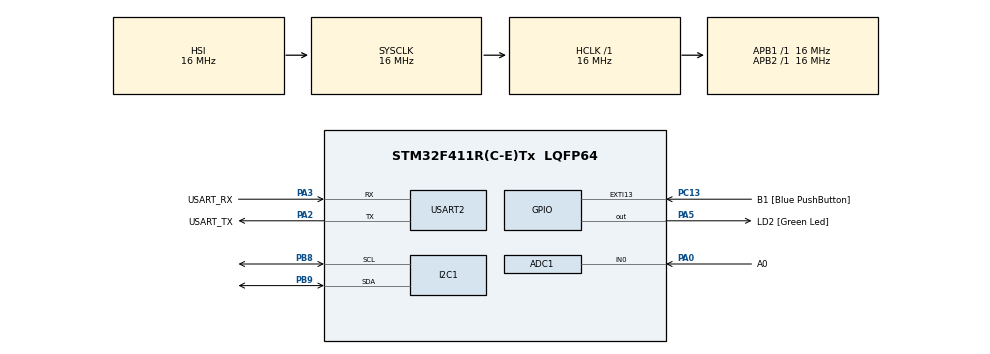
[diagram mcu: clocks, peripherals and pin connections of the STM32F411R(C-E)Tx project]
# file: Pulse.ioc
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Mcu.Family=STM32F4
PA2.GPIO_PuPd=GPIO_PULLUP
RCC.CortexFreq_Value=16000000
PC13-ANTI_TAMP.GPIO_PuPd=GPIO_NOPULL
PC13-ANTI_TAMP.GPIO_Label=B1 [Blue PushButton]
PA14.GPIO_Label=TCK
PA3.GPIO_PuPd=GPIO_PULLUP
PA2.GPIO_Speed=GPIO_SPEED_FREQ_HIGH
PA3.GPIO_Speed=GPIO_SPEED_FREQ_HIGH
ProjectManager.StackSize=0x400
PA0-WKUP.GPIO_Label=A0
PA0-WKUP.Signal=ADCx_IN0
PA13.Signal=SYS_JTMS-SWDIO
PA3.Mode=Asynchronous
ProjectManager.TargetToolchain=STM32CubeIDE
PA3.GPIO_Mode=GPIO_MODE_AF_PP
RCC.HCLKFreq_Value=16000000
ADC1.Resolution=ADC_RESOLUTION_10B
PB9.Mode=I2C
RCC.APB2TimFreq_Value=16000000
TIM3.Period=1999
RCC.LSE_VALUE=32768
RCC.AHBFreq_Value=16000000
NVIC.EXTI15_10_IRQn=true\:0\:0\:false\:false\:true\:true\:true
PA5.Signal=GPIO_Output
ADC1.Channel-0\#ChannelRegularConversion=ADC_CHANNEL_0
RCC.HSE_VALUE=8000000
board=custom
PC13-ANTI_TAMP.Signal=GPXTI13
RCC.VCOOutputFreq_Value=336000000
NVIC.TIM3_IRQn=true\:0\:0\:true\:false\:true\:true\:true
RCC.APB2Freq_Value=16000000
PA5.GPIO_ModeDefaultOutputPP=GPIO_MODE_OUTPUT_PP
PA14.Mode=Serial_Wire
TIM3.Prescaler=15
PA5.GPIO_PuPd=GPIO_NOPULL
PA0-WKUP.GPIO_Mode=GPIO_MODE_ANALOG
SH.ADCx_IN0.0=ADC1_IN0,IN0
PA13.Mode=Serial_Wire
Mcu.Name=STM32F411R(C-E)Tx
ADC1.SamplingTime-0\#ChannelRegularConversion=ADC_SAMPLETIME_15CYCLES
PA2.Signal=USART2_TX
PA13.GPIO_Label=TMS
RCC.FLatency-AdvancedSettings=FLASH_LATENCY_0
RCC.48MHZClocksFreq_Value=84000000
RCC.SYSCLKFreq_VALUE=16000000
Mcu.Package=LQFP64
PB9.Signal=I2C1_SDA
ADC1.master=1
PA5.GPIO_Label=LD2 [Green Led]
USART2.VirtualMode=VM_ASYNC
PC13-ANTI_TAMP.GPIO_ModeDefaultEXTI=GPIO_MODE_IT_FALLING
PA2.GPIO_Label=USART_TX
PA14.Signal=SYS_JTCK-SWCLK
ProjectManager.HeapSize=0x200
RCC.HSI_VALUE=16000000
RCC.PLLP=RCC_PLLP_DIV4
PA5.GPIO_Speed=GPIO_SPEED_FREQ_LOW
NVIC.PriorityGroup=NVIC_PRIORITYGROUP_0
PB8.Mode=I2C
RCC.PLLN=336
RCC.APB1TimFreq_Value=16000000
PA2.Mode=Asynchronous
PB8.Signal=I2C1_SCL
PA0-WKUP.GPIO_PuPd=GPIO_NOPULL
RCC.APB1Freq_Value=16000000
VP_TIM3_VS_ClockSourceINT.Mode=Internal
PA3.GPIO_Label=USART_RX
PA3.Signal=USART2_RX
PA2.GPIO_Mode=GPIO_MODE_AF_PP

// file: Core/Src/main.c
/* USER CODE BEGIN Header */
/**
  ******************************************************************************
  * @file           : main.c
  * @brief          : Main program body
  ******************************************************************************
  * @attention
  *
  * <h2><center>&copy; Copyright (c) 2021 STMicroelectronics.
  * All rights reserved.</center></h2>
  *
  * This software component is licensed by ST under BSD 3-Clause license,
  * the "License"; You may not use this file except in compliance with the
  * License. You may obtain a copy of the License at:
  *                        opensource.org/licenses/BSD-3-Clause
  *
  ******************************************************************************
  */
/* USER CODE END Header */
#include "main.h"

/* USER CODE BEGIN Includes */
#include "stdio.h"
#include "i2c-lcd.h"
#include "math.h"
/* USER CODE END Includes */

ADC_HandleTypeDef hadc1;

I2C_HandleTypeDef hi2c1;

TIM_HandleTypeDef htim3;

UART_HandleTypeDef huart2;

/* USER CODE BEGIN PV */
// these variables are volatile because they are used during the interrupt service routine!
#define true 1
#define false 0
int BPM;                   // used to hold the pulse rate
int ADCValue;                // holds the incoming raw data
int IBI = 600;             // holds the time between beats, must be seeded!
unsigned char Pulse = false;     // true when pulse wave is high, false when it's low
int Count = 0;
int rate[10];                    // array to hold last ten IBI values
unsigned long sampleCounter = 0;          // used to determine pulse timing
unsigned long lastBeatTime = 0;           // used to find IBI
int P =512;                      // used to find peak in pulse wave, seeded
int T = 512;                     // used to find trough in pulse wave, seeded
int thresh = 512;                // used to find instant moment of heart beat, seeded
int amp = 100;                   // used to hold amplitude of pulse waveform, seeded
int PulseTime;
unsigned char firstBeat = true;        // used to seed rate array so we startup with reasonable BPM
unsigned char secondBeat = false;      // used to seed rate array so we startup with reasonable BPM
int t1 = 0,t2 = 0,t3 = 0;
/* USER CODE END PV */

void SystemClock_Config(void);
static void MX_GPIO_Init(void);
static void MX_ADC1_Init(void);
static void MX_TIM3_Init(void);
static void MX_USART2_UART_Init(void);
static void MX_I2C1_Init(void);
/* USER CODE BEGIN PFP */
/* Private function prototypes -----------------------------------------------*/
//void sendDataToProcessing(char symbol, int dat );
//#ifdef __GNUC__
//  /* With GCC/RAISONANCE, small printf (option LD Linker->Libraries->Small printf
//     set to 'Yes') calls __io_putchar() */
//  #define PUTCHAR_PROTOTYPE int __io_putchar(int ch)
//#else
//  #define PUTCHAR_PROTOTYPE int fputc(int ch, FILE *f)
//#endif /* __GNUC__ */
void PrintWave(int temp);
int getDigits(int d, int digits);
/* USER CODE END PFP */

int main(void)
{

  /* MCU Configuration--------------------------------------------------------*/

  /* Reset of all peripherals, Initializes the Flash interface and the Systick. */
  HAL_Init();

  /* Configure the system clock */
  SystemClock_Config();

  /* Initialize all configured peripherals */
  MX_GPIO_Init();
  MX_ADC1_Init();
  MX_TIM3_Init();
  MX_USART2_UART_Init();
  MX_I2C1_Init();
  /* USER CODE BEGIN 2 */
	HAL_TIM_Base_Start_IT(&htim3);
	lcd_init();
	lcd_clear();
	lcd_send_string ("Heart pulse:");
	HAL_Delay(2000);
	lcd_clear();
  /* USER CODE END 2 */

  /* Infinite loop */
  while (1)
  {
    /* USER CODE BEGIN 3 */
	  //sendDataToProcessing('S', ADCValue);     // send Processing the raw Pulse Sensor data
	  float star;
	  star = ADCValue / 10.0;
	  int i;
	  for (i = 0; i < 110; i++)
	  {
	  	  if (i<star)
	  	      printf("*");
	  	  else
	  	      printf(" ");
	  }
	  printf("|");

		  //sendDataToProcessing('B',BPM);   // send heart rate with a 'B' prefix
		  printf("BPM: %4d beat/Sec | IBI: %3dms\r\n",BPM,IBI);
		  //sendDataToProcessing('Q',IBI);   // send time between beats with a 'Q' prefix
		  lcd_send_string ("Number of HB:");
		  t3 = getDigits(Count,3) + 48;
		  t2 = getDigits(Count,2) + 48;
		  t1 = getDigits(Count,1) + 48;
		  lcd_send_data (t3);
		  lcd_send_data (t2);
		  lcd_send_data (t1);
		  lcd_setCursor (0,0);

	  	//delay for 20ms

  }
  /* USER CODE END 3 */
}

void SystemClock_Config(void)
{
  RCC_OscInitTypeDef RCC_OscInitStruct = {0};
  RCC_ClkInitTypeDef RCC_ClkInitStruct = {0};

  /** Configure the main internal regulator output voltage
  */
  __HAL_RCC_PWR_CLK_ENABLE();
  __HAL_PWR_VOLTAGESCALING_CONFIG(PWR_REGULATOR_VOLTAGE_SCALE1);
  /** Initializes the RCC Oscillators according to the specified parameters
  * in the RCC_OscInitTypeDef structure.
  */
  RCC_OscInitStruct.OscillatorType = RCC_OSCILLATORTYPE_HSI;
  RCC_OscInitStruct.HSIState = RCC_HSI_ON;
  RCC_OscInitStruct.HSICalibrationValue = RCC_HSICALIBRATION_DEFAULT;
  RCC_OscInitStruct.PLL.PLLState = RCC_PLL_NONE;
  if (HAL_RCC_OscConfig(&RCC_OscInitStruct) != HAL_OK)
  {
    Error_Handler();
  }
  /** Initializes the CPU, AHB and APB buses clocks
  */
  RCC_ClkInitStruct.ClockType = RCC_CLOCKTYPE_HCLK|RCC_CLOCKTYPE_SYSCLK
                              |RCC_CLOCKTYPE_PCLK1|RCC_CLOCKTYPE_PCLK2;
  RCC_ClkInitStruct.SYSCLKSource = RCC_SYSCLKSOURCE_HSI;
  RCC_ClkInitStruct.AHBCLKDivider = RCC_SYSCLK_DIV1;
  RCC_ClkInitStruct.APB1CLKDivider = RCC_HCLK_DIV1;
  RCC_ClkInitStruct.APB2CLKDivider = RCC_HCLK_DIV1;

  if (HAL_RCC_ClockConfig(&RCC_ClkInitStruct, FLASH_LATENCY_0) != HAL_OK)
  {
    Error_Handler();
  }
}

static void MX_ADC1_Init(void)
{

  ADC_ChannelConfTypeDef sConfig = {0};

  /** Configure the global features of the ADC (Clock, Resolution, Data Alignment and PulseTimeber of conversion)
  */
  hadc1.Instance = ADC1;
  hadc1.Init.ClockPrescaler = ADC_CLOCK_SYNC_PCLK_DIV2;
  hadc1.Init.Resolution = ADC_RESOLUTION_10B;
  hadc1.Init.ScanConvMode = DISABLE;
  hadc1.Init.ContinuousConvMode = DISABLE;
  hadc1.Init.DiscontinuousConvMode = DISABLE;
  hadc1.Init.ExternalTrigConvEdge = ADC_EXTERNALTRIGCONVEDGE_NONE;
  hadc1.Init.ExternalTrigConv = ADC_SOFTWARE_START;
  hadc1.Init.DataAlign = ADC_DATAALIGN_RIGHT;
  hadc1.Init.NbrOfConversion = 1;
  hadc1.Init.DMAContinuousRequests = DISABLE;
  hadc1.Init.EOCSelection = ADC_EOC_SINGLE_CONV;
  if (HAL_ADC_Init(&hadc1) != HAL_OK)
  {
    Error_Handler();
  }
  /** Configure for the selected ADC regular channel its corresponding rank in the sequencer and its sample time.
  */
  sConfig.Channel = ADC_CHANNEL_0;
  sConfig.Rank = 1;
  sConfig.SamplingTime = ADC_SAMPLETIME_15CYCLES;
  if (HAL_ADC_ConfigChannel(&hadc1, &sConfig) != HAL_OK)
  {
    Error_Handler();
  }

}

static void MX_I2C1_Init(void)
{

  hi2c1.Instance = I2C1;
  hi2c1.Init.ClockSpeed = 100000;
  hi2c1.Init.DutyCycle = I2C_DUTYCYCLE_2;
  hi2c1.Init.OwnAddress1 = 0;
  hi2c1.Init.AddressingMode = I2C_ADDRESSINGMODE_7BIT;
  hi2c1.Init.DualAddressMode = I2C_DUALADDRESS_DISABLE;
  hi2c1.Init.OwnAddress2 = 0;
  hi2c1.Init.GeneralCallMode = I2C_GENERALCALL_DISABLE;
  hi2c1.Init.NoStretchMode = I2C_NOSTRETCH_DISABLE;
  if (HAL_I2C_Init(&hi2c1) != HAL_OK)
  {
    Error_Handler();
  }

}

static void MX_TIM3_Init(void)
{

  TIM_ClockConfigTypeDef sClockSourceConfig = {0};
  TIM_MasterConfigTypeDef sMasterConfig = {0};

  htim3.Instance = TIM3;
  htim3.Init.Prescaler = 15;
  htim3.Init.CounterMode = TIM_COUNTERMODE_UP;
  htim3.Init.Period = 1999;
  htim3.Init.ClockDivision = TIM_CLOCKDIVISION_DIV1;
  htim3.Init.AutoReloadPreload = TIM_AUTORELOAD_PRELOAD_DISABLE;
  if (HAL_TIM_Base_Init(&htim3) != HAL_OK)
  {
    Error_Handler();
  }
  sClockSourceConfig.ClockSource = TIM_CLOCKSOURCE_INTERNAL;
  if (HAL_TIM_ConfigClockSource(&htim3, &sClockSourceConfig) != HAL_OK)
  {
    Error_Handler();
  }
  sMasterConfig.MasterOutputTrigger = TIM_TRGO_RESET;
  sMasterConfig.MasterSlaveMode = TIM_MASTERSLAVEMODE_DISABLE;
  if (HAL_TIMEx_MasterConfigSynchronization(&htim3, &sMasterConfig) != HAL_OK)
  {
    Error_Handler();
  }

}

static void MX_USART2_UART_Init(void)
{

  huart2.Instance = USART2;
  huart2.Init.BaudRate = 115200;
  huart2.Init.WordLength = UART_WORDLENGTH_8B;
  huart2.Init.StopBits = UART_STOPBITS_1;
  huart2.Init.Parity = UART_PARITY_NONE;
  huart2.Init.Mode = UART_MODE_TX_RX;
  huart2.Init.HwFlowCtl = UART_HWCONTROL_NONE;
  huart2.Init.OverSampling = UART_OVERSAMPLING_16;
  if (HAL_UART_Init(&huart2) != HAL_OK)
  {
    Error_Handler();
  }

}

static void MX_GPIO_Init(void)
{
  GPIO_InitTypeDef GPIO_InitStruct = {0};

  /* GPIO Ports Clock Enable */
  __HAL_RCC_GPIOC_CLK_ENABLE();
  __HAL_RCC_GPIOA_CLK_ENABLE();
  __HAL_RCC_GPIOB_CLK_ENABLE();

  /*Configure GPIO pin Output Level */
  HAL_GPIO_WritePin(LD2_GPIO_Port, LD2_Pin, GPIO_PIN_RESET);

  /*Configure GPIO pin : B1_Pin */
  GPIO_InitStruct.Pin = B1_Pin;
  GPIO_InitStruct.Mode = GPIO_MODE_IT_FALLING;
  GPIO_InitStruct.Pull = GPIO_NOPULL;
  HAL_GPIO_Init(B1_GPIO_Port, &GPIO_InitStruct);

  /*Configure GPIO pin : LD2_Pin */
  GPIO_InitStruct.Pin = LD2_Pin;
  GPIO_InitStruct.Mode = GPIO_MODE_OUTPUT_PP;
  GPIO_InitStruct.Pull = GPIO_NOPULL;
  GPIO_InitStruct.Speed = GPIO_SPEED_FREQ_LOW;
  HAL_GPIO_Init(LD2_GPIO_Port, &GPIO_InitStruct);

  /* EXTI interrupt init*/
  HAL_NVIC_SetPriority(EXTI15_10_IRQn, 0, 0);
  HAL_NVIC_EnableIRQ(EXTI15_10_IRQn);

}

/* USER CODE BEGIN 4 */
/**
  * @brief  Retargets the C library printf function to the USART.
  * @param  None
  * @retval None
  */
//PUTCHAR_PROTOTYPE
//{
//  /* Place your implementation of fputc here */
//  /* e.g. write a character to the EVAL_COM1 and Loop until the end of transmission */
//  HAL_UART_Transmit(&huart2, (uint8_t *)&ch, 1, 0xFFFF);
//
//  return ch;
//}
void HAL_GPIO_EXTI_Callback(uint16_t GPIO_Pin)
{
	if (HAL_GPIO_ReadPin(GPIOC, GPIO_PIN_13) == 0)
	{
		BPM = 0;                   // used to hold the pulse rate
		ADCValue = 0;                // holds the incoming raw data
		IBI = 600;             // holds the time between beats, must be seeded!
		Pulse = false;     // true when pulse wave is high, false when it's low
        for(int i=0; i<=9; i++)            // seed the running total to get a realisitic BPM at startup
          rate[i] = 0;                    // array to hold last ten IBI values
		sampleCounter = 0;          // used to determine pulse timing
		lastBeatTime = 0;           // used to find IBI
		Count = 0;
		P =512;                      // used to find peak in pulse wave, seeded
		T = 512;                     // used to find trough in pulse wave, seeded
		thresh = 512;                // used to find instant moment of heart beat, seeded
		amp = 100;                   // used to hold amplitude of pulse waveform, seeded
		PulseTime = 0;
		firstBeat = true;        // used to seed rate array so we startup with reasonable BPM
		secondBeat = false;
	}
}

void HAL_TIM_PeriodElapsedCallback(TIM_HandleTypeDef *htim)
{
	unsigned int runningTotal;
	if(htim->Instance==htim3.Instance)
	{
		ADCValue=HAL_ADC_GetValue(&hadc1);					 // read the Pulse Senso
		sampleCounter += 2;                         // keep track of the time in mS with this variable
		PulseTime = sampleCounter - lastBeatTime;       // monitor the time since the last beat to avoid noise
		HAL_ADC_Start(&hadc1);									//restart ADC conversion

		//  find the peak and trough of the pulse wave
  if(ADCValue < thresh && PulseTime > (IBI/5)*3){       // avoid dichrotic noise by waiting 3/5 of last IBI
    if (ADCValue < T){                        // T is the trough
      T = ADCValue;                         // keep track of lowest point in pulse wave
    }
  }

  if(ADCValue > thresh && ADCValue > P){          // thresh condition helps avoid noise
    P = ADCValue;                             // P is the peak
  }                                        // keep track of highest point in pulse wave

  //  NOW IT'S TIME TO LOOK FOR THE HEART BEAT
  // ADCValue surges up in value every time there is a pulse
  if (PulseTime > 250){                                   // avoid high frequency noise
    if ( (ADCValue > thresh) && (Pulse == false) && (PulseTime > (IBI/5)*3) ){
      Pulse = true;                               // set the Pulse flag when we think there is a pulse
      HAL_GPIO_WritePin(GPIOA,GPIO_PIN_5,GPIO_PIN_RESET);                // turn on pin 13 LED
      IBI = sampleCounter - lastBeatTime;         // measure time between beats in mS
      lastBeatTime = sampleCounter;               // keep track of time for next pulse

      if(secondBeat){                        // if this is the second beat, if secondBeat == TRUE
        secondBeat = false;                  // clear secondBeat flag
        for(int i=0; i<=9; i++){             // seed the running total to get a realisitic BPM at startup
          rate[i] = IBI;
        }
      }

      if(firstBeat){                         // if it's the first time we found a beat, if firstBeat == TRUE
        firstBeat = false;                   // clear firstBeat flag
        secondBeat = true;                   // set the second beat flag
        return;                              // IBI value is unreliable so discard it
      }

      // keep a running total of the last 10 IBI values
      runningTotal = 0;                  // clear the runningTotal variable

      for(int i=0; i<=8; i++){                // shift data in the rate array
        rate[i] = rate[i+1];                  // and drop the oldest IBI value
        runningTotal += rate[i];              // add up the 9 oldest IBI values
      }

      rate[9] = IBI;                          // add the latest IBI to the rate array
      runningTotal += rate[9];                // add the latest IBI to runningTotal
      runningTotal /= 10;                     // average the last 10 IBI values
      BPM = 60000/runningTotal;               // how many beats can fit into a minute? that's BPM!
      Count ++;                             // set Quantified Self flag
      // QS FLAG IS NOT CLEARED INSIDE THIS ISR
    }
  }

  if (ADCValue < thresh && Pulse == true){   // when the values are going down, the beat is over
     HAL_GPIO_WritePin(GPIOA,GPIO_PIN_5,GPIO_PIN_SET);            // turn off pin 13 LED
    Pulse = false;                         // reset the Pulse flag so we can do it again
    amp = P - T;                           // get amplitude of the pulse wave
    thresh = amp/2 + T;                    // set thresh at 50% of the amplitude
    P = thresh;                            // reset these for next time
    T = thresh;
  }

  if (PulseTime > 2500){                           // if 2.5 seconds go by without a beat
    thresh = 512;                          // set thresh default
    P = 512;                               // set P default
    T = 512;                               // set T default
    lastBeatTime = sampleCounter;          // bring the lastBeatTime up to date
    firstBeat = true;                      // set these to avoid noise
    secondBeat = false;                    // when we get the heartbeat back
  }

	}
}

//void sendDataToProcessing(char symbol, int dat )
//{
//    putchar(symbol);                // symbol prefix tells Processing what type of data is coming
//		printf("%d\r\n",dat);						// the data to send culminating in a carriage return
//}

int __io_putchar(int ch)
{
	HAL_UART_Transmit(&huart2, (uint8_t*)&ch,1,HAL_MAX_DELAY);
    return ch;
}

int getDigits(int d, int digits)
{
int tempint = (int)(d / pow(10.0, digits - 1));
return (tempint % 10);
}

/* USER CODE END 4 */

void Error_Handler(void)
{
  __disable_irq();
  while (1)
  {
  }
}

/************************ (C) COPYRIGHT STMicroelectronics *****END OF FILE****/
